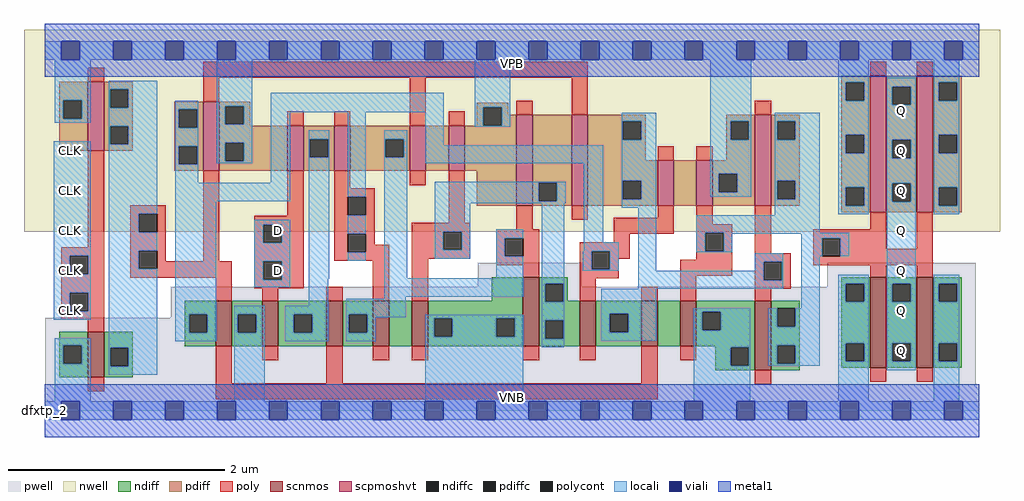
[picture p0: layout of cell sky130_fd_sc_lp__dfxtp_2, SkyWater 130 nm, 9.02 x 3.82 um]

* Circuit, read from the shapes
.subckt sky130_fd_sc_lp__dfxtp_2 CLK D VGND VNB VPB VPWR Q
XM1 n1 CLK VGND VNB sky130_fd_pr__nfet_01v8 w=0.42 l=0.15
XM2 VGND n1 n2 VNB sky130_fd_pr__nfet_01v8 w=0.42 l=0.15
XM3 n3 D VGND VNB sky130_fd_pr__nfet_01v8 w=0.42 l=0.15
XM4 n4 n1 n3 VNB sky130_fd_pr__nfet_01v8 w=0.42 l=0.15
XM5 n5 n2 n4 VNB sky130_fd_pr__nfet_01v8 w=0.42 l=0.15
XM6 VGND n6 n5 VNB sky130_fd_pr__nfet_01v8 w=0.42 l=0.15
XM7 n6 n4 VGND VNB sky130_fd_pr__nfet_01v8 w=0.64 l=0.15
XM8 n7 n2 n6 VNB sky130_fd_pr__nfet_01v8 w=0.42 l=0.15
XM9 n8 n1 n7 VNB sky130_fd_pr__nfet_01v8 w=0.42 l=0.15
XM10 VGND n9 n8 VNB sky130_fd_pr__nfet_01v8 w=0.42 l=0.15
XM11 n9 n7 VGND VNB sky130_fd_pr__nfet_01v8 w=0.64 l=0.15
XM12 Q n9 VGND VNB sky130_fd_pr__nfet_01v8 w=0.84 l=0.15 m=2
XM13 n1 CLK VPWR VPB sky130_fd_pr__pfet_01v8_hvt w=0.64 l=0.15
XM14 VPWR n1 n2 VPB sky130_fd_pr__pfet_01v8_hvt w=0.64 l=0.15
XM15 n3 D VPWR VPB sky130_fd_pr__pfet_01v8_hvt w=0.42 l=0.15
XM16 n4 n2 n3 VPB sky130_fd_pr__pfet_01v8_hvt w=0.42 l=0.15
XM17 n10 n1 n4 VPB sky130_fd_pr__pfet_01v8_hvt w=0.42 l=0.15
XM18 VPWR n6 n10 VPB sky130_fd_pr__pfet_01v8_hvt w=0.42 l=0.15
XM19 n6 n4 VPWR VPB sky130_fd_pr__pfet_01v8_hvt w=0.84 l=0.15
XM20 n7 n1 n6 VPB sky130_fd_pr__pfet_01v8_hvt w=0.84 l=0.15
XM21 n11 n2 n7 VPB sky130_fd_pr__pfet_01v8_hvt w=0.42 l=0.15
XM22 VPWR n9 n11 VPB sky130_fd_pr__pfet_01v8_hvt w=0.42 l=0.15
XM23 n9 n7 VPWR VPB sky130_fd_pr__pfet_01v8_hvt w=0.84 l=0.15
XM24 Q n9 VPWR VPB sky130_fd_pr__pfet_01v8_hvt w=1.26 l=0.15 m=2
.ends

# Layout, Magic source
magic
tech sky130A
magscale 1 2
<< nwell >>
rect -38 331 1766 704
<< pwell >>
rect 801 229 993 273
rect 1447 229 1721 273
rect 233 172 1721 229
rect 1 49 1721 172
rect 0 0 1728 49
<< scnmos >>
rect 80 62 110 146
rect 316 119 346 203
rect 402 119 432 203
rect 521 119 551 203
rect 607 119 637 203
rect 679 119 709 203
rect 884 119 914 247
rect 989 119 1019 203
rect 1103 119 1133 203
rect 1175 119 1205 203
rect 1313 75 1343 203
rect 1526 79 1556 247
rect 1612 79 1642 247
<< scpmoshvt >>
rect 80 480 110 608
rect 293 443 323 571
rect 449 443 479 527
rect 535 443 565 527
rect 675 443 705 527
rect 747 443 777 527
rect 872 379 902 547
rect 974 379 1004 547
rect 1133 379 1163 463
rect 1205 379 1235 463
rect 1313 379 1343 547
rect 1526 367 1556 619
rect 1612 367 1642 619
<< ndiff >>
rect 827 203 884 247
rect 259 178 316 203
rect 27 121 80 146
rect 27 87 35 121
rect 69 87 80 121
rect 27 62 80 87
rect 110 116 163 146
rect 259 144 267 178
rect 301 144 316 178
rect 259 119 316 144
rect 346 178 402 203
rect 346 144 357 178
rect 391 144 402 178
rect 346 119 402 144
rect 432 178 521 203
rect 432 144 461 178
rect 495 144 521 178
rect 432 119 521 144
rect 551 178 607 203
rect 551 144 562 178
rect 596 144 607 178
rect 551 119 607 144
rect 637 119 679 203
rect 709 171 884 203
rect 709 137 720 171
rect 754 137 835 171
rect 869 137 884 171
rect 709 119 884 137
rect 914 235 967 247
rect 914 201 925 235
rect 959 203 967 235
rect 1473 235 1526 247
rect 959 201 989 203
rect 914 167 989 201
rect 914 133 925 167
rect 959 133 989 167
rect 914 119 989 133
rect 1019 179 1103 203
rect 1019 145 1045 179
rect 1079 145 1103 179
rect 1019 119 1103 145
rect 1133 119 1175 203
rect 1205 183 1313 203
rect 1205 149 1216 183
rect 1250 149 1313 183
rect 1205 119 1313 149
rect 110 82 121 116
rect 155 82 163 116
rect 110 62 163 82
rect 1240 117 1313 119
rect 1240 83 1268 117
rect 1302 83 1313 117
rect 1240 75 1313 83
rect 1343 189 1396 203
rect 1343 155 1354 189
rect 1388 155 1396 189
rect 1343 121 1396 155
rect 1343 87 1354 121
rect 1388 87 1396 121
rect 1343 75 1396 87
rect 1473 201 1481 235
rect 1515 201 1526 235
rect 1473 125 1526 201
rect 1473 91 1481 125
rect 1515 91 1526 125
rect 1473 79 1526 91
rect 1556 235 1612 247
rect 1556 201 1567 235
rect 1601 201 1612 235
rect 1556 125 1612 201
rect 1556 91 1567 125
rect 1601 91 1612 125
rect 1556 79 1612 91
rect 1642 235 1695 247
rect 1642 201 1653 235
rect 1687 201 1695 235
rect 1642 125 1695 201
rect 1642 91 1653 125
rect 1687 91 1695 125
rect 1642 79 1695 91
<< pdiff >>
rect 27 574 80 608
rect 27 540 35 574
rect 69 540 80 574
rect 27 480 80 540
rect 110 594 163 608
rect 110 560 121 594
rect 155 560 163 594
rect 110 526 163 560
rect 110 492 121 526
rect 155 492 163 526
rect 110 480 163 492
rect 240 557 293 571
rect 240 523 248 557
rect 282 523 293 557
rect 240 489 293 523
rect 240 455 248 489
rect 282 455 293 489
rect 240 443 293 455
rect 323 563 380 571
rect 323 529 334 563
rect 368 529 380 563
rect 323 527 380 529
rect 799 561 857 569
rect 799 527 811 561
rect 845 547 857 561
rect 1473 607 1526 619
rect 1473 573 1481 607
rect 1515 573 1526 607
rect 845 527 872 547
rect 323 495 449 527
rect 323 461 334 495
rect 368 461 449 495
rect 323 443 449 461
rect 479 502 535 527
rect 479 468 490 502
rect 524 468 535 502
rect 479 443 535 468
rect 565 502 675 527
rect 565 468 630 502
rect 664 468 675 502
rect 565 443 675 468
rect 705 443 747 527
rect 777 443 872 527
rect 799 379 872 443
rect 902 421 974 547
rect 902 387 913 421
rect 947 387 974 421
rect 902 379 974 387
rect 1004 535 1111 547
rect 1004 501 1069 535
rect 1103 501 1111 535
rect 1004 463 1111 501
rect 1260 535 1313 547
rect 1260 501 1268 535
rect 1302 501 1313 535
rect 1260 463 1313 501
rect 1004 425 1133 463
rect 1004 391 1069 425
rect 1103 391 1133 425
rect 1004 379 1133 391
rect 1163 379 1205 463
rect 1235 438 1313 463
rect 1235 404 1246 438
rect 1280 404 1313 438
rect 1235 379 1313 404
rect 1343 535 1396 547
rect 1343 501 1354 535
rect 1388 501 1396 535
rect 1343 425 1396 501
rect 1343 391 1354 425
rect 1388 391 1396 425
rect 1343 379 1396 391
rect 1473 510 1526 573
rect 1473 476 1481 510
rect 1515 476 1526 510
rect 1473 413 1526 476
rect 1473 379 1481 413
rect 1515 379 1526 413
rect 1473 367 1526 379
rect 1556 599 1612 619
rect 1556 565 1567 599
rect 1601 565 1612 599
rect 1556 501 1612 565
rect 1556 467 1567 501
rect 1601 467 1612 501
rect 1556 420 1612 467
rect 1556 386 1567 420
rect 1601 386 1612 420
rect 1556 367 1612 386
rect 1642 607 1695 619
rect 1642 573 1653 607
rect 1687 573 1695 607
rect 1642 510 1695 573
rect 1642 476 1653 510
rect 1687 476 1695 510
rect 1642 413 1695 476
rect 1642 379 1653 413
rect 1687 379 1695 413
rect 1642 367 1695 379
<< ndiffc >>
rect 35 87 69 121
rect 267 144 301 178
rect 357 144 391 178
rect 461 144 495 178
rect 562 144 596 178
rect 720 137 754 171
rect 835 137 869 171
rect 925 201 959 235
rect 925 133 959 167
rect 1045 145 1079 179
rect 1216 149 1250 183
rect 121 82 155 116
rect 1268 83 1302 117
rect 1354 155 1388 189
rect 1354 87 1388 121
rect 1481 201 1515 235
rect 1481 91 1515 125
rect 1567 201 1601 235
rect 1567 91 1601 125
rect 1653 201 1687 235
rect 1653 91 1687 125
<< pdiffc >>
rect 35 540 69 574
rect 121 560 155 594
rect 121 492 155 526
rect 248 523 282 557
rect 248 455 282 489
rect 334 529 368 563
rect 811 527 845 561
rect 1481 573 1515 607
rect 334 461 368 495
rect 490 468 524 502
rect 630 468 664 502
rect 913 387 947 421
rect 1069 501 1103 535
rect 1268 501 1302 535
rect 1069 391 1103 425
rect 1246 404 1280 438
rect 1354 501 1388 535
rect 1354 391 1388 425
rect 1481 476 1515 510
rect 1481 379 1515 413
rect 1567 565 1601 599
rect 1567 467 1601 501
rect 1567 386 1601 420
rect 1653 573 1687 607
rect 1653 476 1687 510
rect 1653 379 1687 413
<< poly >>
rect 80 608 110 634
rect 293 615 1004 645
rect 1526 619 1556 645
rect 1612 619 1642 645
rect 293 571 323 615
rect 80 302 110 480
rect 449 527 479 553
rect 535 527 565 553
rect 675 527 705 615
rect 747 527 777 553
rect 872 547 902 573
rect 974 547 1004 615
rect 1313 547 1343 573
rect 31 286 110 302
rect 31 252 47 286
rect 81 252 110 286
rect 31 218 110 252
rect 158 364 224 380
rect 158 330 174 364
rect 208 330 224 364
rect 158 296 224 330
rect 158 262 174 296
rect 208 276 224 296
rect 293 276 323 443
rect 449 360 479 443
rect 388 344 479 360
rect 388 310 404 344
rect 438 310 479 344
rect 388 276 479 310
rect 535 411 565 443
rect 675 417 705 443
rect 535 395 610 411
rect 535 361 560 395
rect 594 361 610 395
rect 535 327 610 361
rect 747 347 777 443
rect 1133 463 1163 489
rect 1205 463 1235 489
rect 535 293 560 327
rect 594 307 610 327
rect 679 331 787 347
rect 872 335 902 379
rect 974 353 1004 379
rect 1133 357 1163 379
rect 594 293 637 307
rect 535 277 637 293
rect 208 262 346 276
rect 158 246 346 262
rect 31 184 47 218
rect 81 184 110 218
rect 316 203 346 246
rect 388 242 404 276
rect 438 242 479 276
rect 388 226 479 242
rect 402 203 432 226
rect 521 203 551 229
rect 607 203 637 277
rect 679 297 737 331
rect 771 297 787 331
rect 679 281 787 297
rect 835 319 914 335
rect 835 285 851 319
rect 885 285 914 319
rect 1052 327 1163 357
rect 1205 345 1235 379
rect 1205 329 1271 345
rect 1052 311 1082 327
rect 679 203 709 281
rect 835 269 914 285
rect 884 247 914 269
rect 989 295 1082 311
rect 989 261 1011 295
rect 1045 281 1082 295
rect 1205 295 1221 329
rect 1255 295 1271 329
rect 1045 261 1061 281
rect 1205 279 1271 295
rect 31 168 110 184
rect 80 146 110 168
rect 989 245 1061 261
rect 1175 249 1271 279
rect 1313 291 1343 379
rect 1526 335 1556 367
rect 1421 319 1556 335
rect 1313 275 1379 291
rect 989 203 1019 245
rect 1103 203 1133 229
rect 1175 203 1205 249
rect 1313 241 1329 275
rect 1363 241 1379 275
rect 1421 285 1437 319
rect 1471 299 1556 319
rect 1612 299 1642 367
rect 1471 285 1642 299
rect 1421 269 1642 285
rect 1526 247 1556 269
rect 1612 247 1642 269
rect 1313 225 1379 241
rect 1313 203 1343 225
rect 80 36 110 62
rect 316 51 346 119
rect 402 93 432 119
rect 521 51 551 119
rect 607 93 637 119
rect 679 93 709 119
rect 884 93 914 119
rect 989 93 1019 119
rect 1103 51 1133 119
rect 1175 93 1205 119
rect 316 21 1133 51
rect 1313 49 1343 75
rect 1526 53 1556 79
rect 1612 53 1642 79
<< polycont >>
rect 47 252 81 286
rect 174 330 208 364
rect 174 262 208 296
rect 404 310 438 344
rect 560 361 594 395
rect 560 293 594 327
rect 47 184 81 218
rect 404 242 438 276
rect 737 297 771 331
rect 851 285 885 319
rect 1011 261 1045 295
rect 1221 295 1255 329
rect 1329 241 1363 275
rect 1437 285 1471 319
<< locali >>
rect 0 649 31 683
rect 65 649 127 683
rect 161 649 223 683
rect 257 649 319 683
rect 353 649 415 683
rect 449 649 511 683
rect 545 649 607 683
rect 641 649 703 683
rect 737 649 799 683
rect 833 649 895 683
rect 929 649 991 683
rect 1025 649 1087 683
rect 1121 649 1183 683
rect 1217 649 1279 683
rect 1313 649 1375 683
rect 1409 649 1471 683
rect 1505 649 1567 683
rect 1601 649 1663 683
rect 1697 649 1728 683
rect 19 574 85 649
rect 19 540 35 574
rect 69 540 85 574
rect 19 532 85 540
rect 119 594 208 610
rect 119 560 121 594
rect 155 560 208 594
rect 119 526 208 560
rect 17 286 85 498
rect 17 252 47 286
rect 81 252 85 286
rect 17 218 85 252
rect 17 184 47 218
rect 81 184 85 218
rect 17 168 85 184
rect 119 492 121 526
rect 155 492 208 526
rect 119 364 208 492
rect 119 330 174 364
rect 119 296 208 330
rect 119 262 174 296
rect 19 121 85 134
rect 19 87 35 121
rect 69 87 85 121
rect 19 17 85 87
rect 119 116 208 262
rect 242 557 284 573
rect 242 523 248 557
rect 282 523 284 557
rect 242 489 284 523
rect 242 455 248 489
rect 282 455 284 489
rect 318 563 384 649
rect 318 529 334 563
rect 368 529 384 563
rect 318 495 384 529
rect 318 461 334 495
rect 368 461 384 495
rect 318 457 384 461
rect 418 552 738 588
rect 242 421 284 455
rect 418 421 454 552
rect 242 387 454 421
rect 488 502 526 518
rect 488 468 490 502
rect 524 468 526 502
rect 242 178 317 387
rect 388 344 454 353
rect 388 310 404 344
rect 438 310 454 344
rect 388 276 454 310
rect 388 242 404 276
rect 438 242 454 276
rect 388 228 454 242
rect 488 244 526 468
rect 560 395 594 552
rect 560 327 594 361
rect 560 277 594 293
rect 628 502 670 518
rect 628 468 630 502
rect 664 468 670 502
rect 628 245 670 468
rect 704 491 738 552
rect 795 561 861 649
rect 795 527 811 561
rect 845 527 861 561
rect 795 525 861 527
rect 1067 535 1131 551
rect 1067 501 1069 535
rect 1103 501 1131 535
rect 704 457 1033 491
rect 721 421 963 423
rect 721 387 913 421
rect 947 387 963 421
rect 721 383 963 387
rect 721 331 787 383
rect 721 297 737 331
rect 771 297 787 331
rect 721 281 787 297
rect 835 319 885 335
rect 835 285 851 319
rect 835 245 885 285
rect 488 194 524 244
rect 628 211 885 245
rect 919 235 961 383
rect 997 311 1033 457
rect 1067 425 1131 501
rect 1067 391 1069 425
rect 1103 391 1131 425
rect 1230 535 1306 649
rect 1467 607 1523 649
rect 1467 573 1481 607
rect 1515 573 1523 607
rect 1230 501 1268 535
rect 1302 501 1306 535
rect 1230 438 1306 501
rect 1230 404 1246 438
rect 1280 404 1306 438
rect 1230 395 1306 404
rect 1350 535 1433 551
rect 1350 501 1354 535
rect 1388 501 1433 535
rect 1350 425 1433 501
rect 1067 375 1131 391
rect 997 295 1061 311
rect 995 261 1011 295
rect 1045 261 1061 295
rect 995 259 1061 261
rect 1097 259 1131 375
rect 1350 391 1354 425
rect 1388 391 1433 425
rect 1350 361 1433 391
rect 1467 510 1523 573
rect 1467 476 1481 510
rect 1515 476 1523 510
rect 1467 413 1523 476
rect 1467 379 1481 413
rect 1515 379 1523 413
rect 1467 363 1523 379
rect 1557 599 1610 615
rect 1557 565 1567 599
rect 1601 565 1610 599
rect 1557 501 1610 565
rect 1557 467 1567 501
rect 1601 467 1610 501
rect 1557 420 1610 467
rect 1557 386 1567 420
rect 1601 386 1610 420
rect 1205 329 1433 361
rect 1205 295 1221 329
rect 1255 327 1487 329
rect 1255 295 1271 327
rect 1205 293 1271 295
rect 1399 319 1487 327
rect 1313 275 1365 291
rect 1313 259 1329 275
rect 628 207 668 211
rect 242 144 267 178
rect 301 144 317 178
rect 242 128 317 144
rect 351 178 407 194
rect 351 144 357 178
rect 391 144 407 178
rect 119 82 121 116
rect 155 82 208 116
rect 119 66 208 82
rect 351 17 407 144
rect 445 178 524 194
rect 445 144 461 178
rect 495 144 524 178
rect 445 128 524 144
rect 558 178 668 207
rect 558 144 562 178
rect 596 173 668 178
rect 919 201 925 235
rect 959 201 961 235
rect 1097 241 1329 259
rect 1363 241 1365 275
rect 1097 225 1365 241
rect 1399 285 1437 319
rect 1471 285 1487 319
rect 596 144 612 173
rect 558 128 612 144
rect 704 171 885 177
rect 704 137 720 171
rect 754 137 835 171
rect 869 137 885 171
rect 704 17 885 137
rect 919 167 961 201
rect 919 133 925 167
rect 959 133 961 167
rect 919 117 961 133
rect 1029 179 1131 225
rect 1399 189 1433 285
rect 1029 145 1045 179
rect 1079 145 1131 179
rect 1029 129 1131 145
rect 1200 183 1304 189
rect 1200 149 1216 183
rect 1250 149 1304 183
rect 1200 117 1304 149
rect 1200 83 1268 117
rect 1302 83 1304 117
rect 1338 155 1354 189
rect 1388 155 1433 189
rect 1338 121 1433 155
rect 1338 87 1354 121
rect 1388 87 1433 121
rect 1338 83 1433 87
rect 1467 235 1523 251
rect 1467 201 1481 235
rect 1515 201 1523 235
rect 1467 125 1523 201
rect 1467 91 1481 125
rect 1515 91 1523 125
rect 1200 17 1304 83
rect 1467 17 1523 91
rect 1557 235 1610 386
rect 1644 607 1691 649
rect 1644 573 1653 607
rect 1687 573 1691 607
rect 1644 510 1691 573
rect 1644 476 1653 510
rect 1687 476 1691 510
rect 1644 413 1691 476
rect 1644 379 1653 413
rect 1687 379 1691 413
rect 1644 363 1691 379
rect 1557 201 1567 235
rect 1601 201 1610 235
rect 1557 125 1610 201
rect 1557 91 1567 125
rect 1601 91 1610 125
rect 1557 75 1610 91
rect 1644 235 1691 251
rect 1644 201 1653 235
rect 1687 201 1691 235
rect 1644 125 1691 201
rect 1644 91 1653 125
rect 1687 91 1691 125
rect 1644 17 1691 91
rect 0 -17 31 17
rect 65 -17 127 17
rect 161 -17 223 17
rect 257 -17 319 17
rect 353 -17 415 17
rect 449 -17 511 17
rect 545 -17 607 17
rect 641 -17 703 17
rect 737 -17 799 17
rect 833 -17 895 17
rect 929 -17 991 17
rect 1025 -17 1087 17
rect 1121 -17 1183 17
rect 1217 -17 1279 17
rect 1313 -17 1375 17
rect 1409 -17 1471 17
rect 1505 -17 1567 17
rect 1601 -17 1663 17
rect 1697 -17 1728 17
<< viali >>
rect 31 649 65 683
rect 127 649 161 683
rect 223 649 257 683
rect 319 649 353 683
rect 415 649 449 683
rect 511 649 545 683
rect 607 649 641 683
rect 703 649 737 683
rect 799 649 833 683
rect 895 649 929 683
rect 991 649 1025 683
rect 1087 649 1121 683
rect 1183 649 1217 683
rect 1279 649 1313 683
rect 1375 649 1409 683
rect 1471 649 1505 683
rect 1567 649 1601 683
rect 1663 649 1697 683
rect 31 -17 65 17
rect 127 -17 161 17
rect 223 -17 257 17
rect 319 -17 353 17
rect 415 -17 449 17
rect 511 -17 545 17
rect 607 -17 641 17
rect 703 -17 737 17
rect 799 -17 833 17
rect 895 -17 929 17
rect 991 -17 1025 17
rect 1087 -17 1121 17
rect 1183 -17 1217 17
rect 1279 -17 1313 17
rect 1375 -17 1409 17
rect 1471 -17 1505 17
rect 1567 -17 1601 17
rect 1663 -17 1697 17
<< metal1 >>
rect 0 683 1728 715
rect 0 649 31 683
rect 65 649 127 683
rect 161 649 223 683
rect 257 649 319 683
rect 353 649 415 683
rect 449 649 511 683
rect 545 649 607 683
rect 641 649 703 683
rect 737 649 799 683
rect 833 649 895 683
rect 929 649 991 683
rect 1025 649 1087 683
rect 1121 649 1183 683
rect 1217 649 1279 683
rect 1313 649 1375 683
rect 1409 649 1471 683
rect 1505 649 1567 683
rect 1601 649 1663 683
rect 1697 649 1728 683
rect 0 617 1728 649
rect 0 17 1728 49
rect 0 -17 31 17
rect 65 -17 127 17
rect 161 -17 223 17
rect 257 -17 319 17
rect 353 -17 415 17
rect 449 -17 511 17
rect 545 -17 607 17
rect 641 -17 703 17
rect 737 -17 799 17
rect 833 -17 895 17
rect 929 -17 991 17
rect 1025 -17 1087 17
rect 1121 -17 1183 17
rect 1217 -17 1279 17
rect 1313 -17 1375 17
rect 1409 -17 1471 17
rect 1505 -17 1567 17
rect 1601 -17 1663 17
rect 1697 -17 1728 17
rect 0 -49 1728 -17
<< labels >>
flabel pwell s 0 0 1728 49 0 FreeSans 200 0 0 0 VNB
port 4 nsew ground bidirectional
flabel nwell s 0 617 1728 666 0 FreeSans 200 0 0 0 VPB
port 5 nsew power bidirectional
rlabel comment s 0 0 0 0 4 dfxtp_2
flabel metal1 s 0 617 1728 666 0 FreeSans 340 0 0 0 VPWR
port 6 nsew power bidirectional
flabel metal1 s 0 0 1728 49 0 FreeSans 340 0 0 0 VGND
port 3 nsew ground bidirectional
flabel locali s 31 168 65 202 0 FreeSans 340 0 0 0 CLK
port 1 nsew clock input
flabel locali s 31 242 65 276 0 FreeSans 340 0 0 0 CLK
port 1 nsew clock input
flabel locali s 31 316 65 350 0 FreeSans 340 0 0 0 CLK
port 1 nsew clock input
flabel locali s 31 390 65 424 0 FreeSans 340 0 0 0 CLK
port 1 nsew clock input
flabel locali s 31 464 65 498 0 FreeSans 340 0 0 0 CLK
port 1 nsew clock input
flabel locali s 415 242 449 276 0 FreeSans 340 0 0 0 D
port 2 nsew signal input
flabel locali s 415 316 449 350 0 FreeSans 340 0 0 0 D
port 2 nsew signal input
flabel locali s 1567 94 1601 128 0 FreeSans 340 0 0 0 Q
port 7 nsew signal output
flabel locali s 1567 168 1601 202 0 FreeSans 340 0 0 0 Q
port 7 nsew signal output
flabel locali s 1567 242 1601 276 0 FreeSans 340 0 0 0 Q
port 7 nsew signal output
flabel locali s 1567 316 1601 350 0 FreeSans 340 0 0 0 Q
port 7 nsew signal output
flabel locali s 1567 390 1601 424 0 FreeSans 340 0 0 0 Q
port 7 nsew signal output
flabel locali s 1567 464 1601 498 0 FreeSans 340 0 0 0 Q
port 7 nsew signal output
flabel locali s 1567 538 1601 572 0 FreeSans 340 0 0 0 Q
port 7 nsew signal output
<< properties >>
string LEFsite unit
string LEFclass CORE
string FIXED_BBOX 0 0 1728 666
string GDS_FILE $PDKPATH/libs.ref/sky130_fd_sc_lp/gds/sky130_fd_sc_lp.gds
string LEFsymmetry X Y R90
string GDS_END 1003074
string GDS_START 989846
<< end >>
